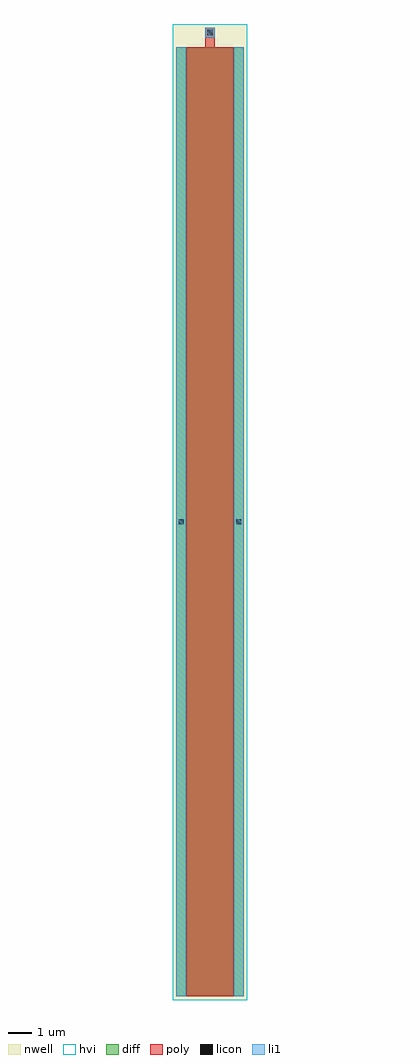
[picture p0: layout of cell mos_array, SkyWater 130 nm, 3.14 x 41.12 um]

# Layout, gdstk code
import gdstk
lib = gdstk.Library(unit=1e-6, precision=1e-09)
def R(c, l, rs):  # rectangles x0, y0, x1, y1
    for r in rs: c.add(gdstk.rectangle(r[:2], r[2:], *l))
nwell = (64, 20)
diff = (65, 20)
poly = (66, 20)
licon = (66, 44)
li1 = (67, 20)
hvi = (75, 20)

mos_array = lib.new_cell('mos_array')
R(mos_array, nwell, [(-0.15,-0.15,2.99,40.97)])
R(mos_array, diff, [(0,0,2.84,40)])
R(mos_array, poly, [(0.42,0,2.42,40), (1.21,40,1.63,40.82)])
R(mos_array, licon, [(0.1,19.89,0.32,20.11), (2.52,19.89,2.74,20.11), (1.31,40.5,1.53,40.72)])
R(mos_array, li1, [(0,0,0.42,40), (2.42,0,2.84,40), (1.21,40.4,1.63,40.82)])
R(mos_array, hvi, [(-0.15,-0.15,2.99,40.97)])

lib.write_gds('mos_array.gds')
